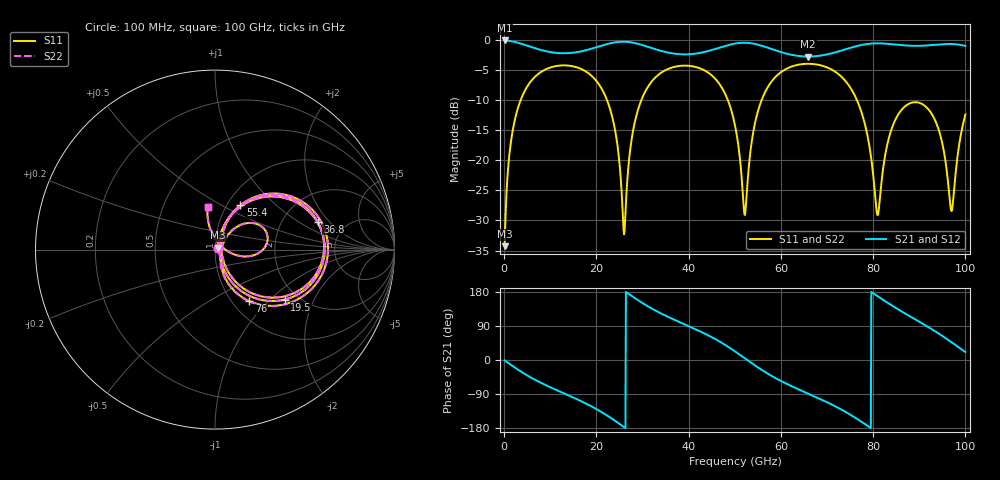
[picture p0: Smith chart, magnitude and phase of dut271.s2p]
! Touchstone file exported from HFSS 2026.1.0
!  File:  C:/ffzhzh/LocalFiles/Ansys_Project_Files/temp_train_TSV_RDL_271_1783675047_26216.aedt
!  Generated:  05:25:58 PM Jul 10, 2026
!  Design:  TSV_RDL
!  Project:  temp_train_TSV_RDL_271_1783675047_26216
! Variables:
!  h_bsmrdl = 4.99um
!  h_ox = 20um
!  h_rdl = 5um
!  h_sub = 81.63um
!  h_tmrdl = 2.13um
!  h_tsv = 81.63um
!  h_via = 3um
!  l_bsmrdl = 260.34um
!  l_sub = 2167.5um
!  l_tmrdl = 225.62um
!  m_sub = 200um
!  pitch = 49.04um
!  r_tsv = 5.99um
!  s_tmrdl = 10um
!  w_bsmrdl = 10.3um
!  w_sub = 500um
!  w_tmrdl = 17.7um
!  x_tsv_center1 = 234.47um
!  x_tsv_center2 = 505.11um
!  x_tsv_center3 = 748.43um
!  x_tsv_center4 = 1019.07um
!  x_tsv_center5 = 1262.39um
!  x_tsv_center6 = 1533.03um
# GHz S MA R 50.000000
! Terminal data exported
! Port[1] = TM_RDL1_1_T1
! Port[2] = TM_RDL5_1_T1
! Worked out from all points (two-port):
!   1000 points, 100 MHz to 100 GHz, reference 50 ohm
!   highest |S21| = -0.14 dB at 100 MHz (marker M1); lowest = -2.8 dB at 65.9 GHz (marker M2)
!   |S21| within 3 dB of the highest: start of sweep to end of sweep
!   lowest |S11| = -34.3 dB at 100 MHz (marker M3), VSWR 1.04, Z = 51.7 + j1.02 ohm
!   |S11| at or under -10 dB: 22.28 GHz to 29.76 GHz (7.482 GHz wide, 28.8 % of centre); 48.48 GHz to 55.84 GHz (7.361 GHz wide, 14.1 % of centre); 76.47 GHz to end of sweep (the widest 3 of 4)
!   |S22| runs from -34.3 to -4.0 dB; largest |S21 - S12| = 1.7e-14
!   S11 on the Smith chart (normalised r, x): 100 MHz: 1.03, +0.02; 19.5 GHz: 1.71, -1.23; 36.8 GHz: 3.12, +1.50; 55.4 GHz: 1.15, +0.62; 76 GHz: 1.20, -0.78; 100 GHz: 0.83, +0.41
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0.1  0.01935 30.7  0.9835 -0.9  0.9835 -0.9  0.01935 30.7
! Gamma 0 0 0 0
! Port Impedance 50 0 50 0
1.6  0.1538 68.6  0.9684 -14.0  0.9684 -14.0  0.1538 68.6
4.3  0.3646 50.9  0.9086 -35.6  0.9086 -35.6  0.3647 50.9
16.8  0.5681 -19.7  0.8003 -109.3  0.8003 -109.3  0.5681 -19.8
19.5  0.4774 -35.6  0.8527 -126.1  0.8527 -126.1  0.4774 -35.7
23.7  0.2066 -62.5  0.9436 -157.5  0.9436 -157.5  0.2065 -62.7
26  0.02427 0.6  0.9601 -177.0  0.9601 -177.0  0.02369 0.6
28.6  0.229 64.3  0.9307 161.1  0.9307 161.1  0.2289 64.4
33.4  0.5092 34.1  0.8184 126.7  0.8184 126.7  0.5092 34.1
36.8  0.5926 15.3  0.7651 106.7  0.7651 106.7  0.5926 15.3
45.4  0.4893 -30.8  0.8274 57.7  0.8274 57.7  0.4893 -30.7
50.1  0.1898 -58.5  0.9273 22.4  0.9273 22.4  0.19 -58.0
52.2  0.03509 8.3  0.9412 4.4  0.9412 4.4  0.03672 8.2
55.4  0.2839 60.2  0.8991 -22.6  0.8991 -22.6  0.2842 59.8
65.9  0.6299 0.9  0.7236 -88.6  0.7236 -88.6  0.6301 0.7
66.7  0.6284 -3.1  0.7247 -92.9  0.7247 -92.9  0.6286 -3.3
76  0.3451 -56.3  0.8742 -151.4  0.8742 -151.4  0.3452 -56.6
80.9  0.03523 -17.4  0.9308 169.0  0.9308 169.0  0.03358 -18.1
83.4  0.1523 47.8  0.9207 149.0  0.9207 149.0  0.1518 48.3
91.7  0.2714 0.9  0.8943 88.9  0.8943 88.9  0.2714 1.1
97  0.03791 45.1  0.9195 46.9  0.9195 46.9  0.03835 45.0
100  0.2388 99.8  0.8861 21.1  0.8861 21.1  0.2388 99.8
